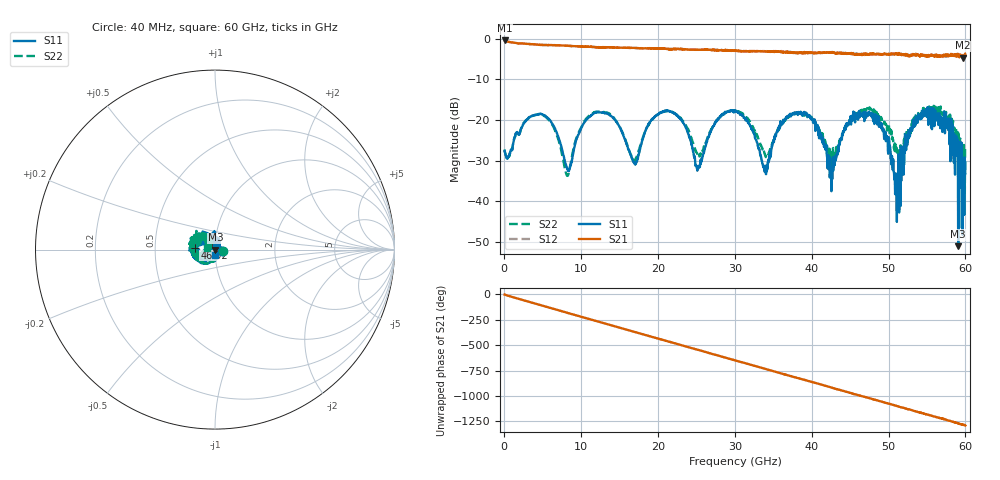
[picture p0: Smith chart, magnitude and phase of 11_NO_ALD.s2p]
! File created by 'SoftPlot +Plus+ Measurement Management Software'
! SoftPlot +Plus+ Measurement Management Software
! Start 40.000000 MHz  Stop 60.000000 GHz  Points 1601
# MHZ S RI R 50
! S-Parameter data, F S11 S21 S12 S22
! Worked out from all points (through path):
!   1601 points, 40 MHz to 60 GHz, reference 50 ohm
!   highest |S21| = -0.41 dB at 40 MHz (marker M1); lowest = -4.7 dB at 59.63 GHz (marker M2)
!   group delay of S21, straight-line fit = 59.4 ps
!   lowest |S11| = -51.1 dB at 59.06 GHz (marker M3), VSWR 1.01, Z = 50.3 - j0.0542 ohm
!   |S11| at or under -10 dB: start of sweep to end of sweep
!   |S22| runs from -38.0 to -16.5 dB; largest |S21 - S12| = 0.049
!   S11 on the Smith chart (normalised r, x): 40 MHz: 1.08, -0.02; 46.92 GHz: 0.80, +0.02; 60 GHz: 1.00, -0.06
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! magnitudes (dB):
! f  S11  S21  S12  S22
! 40 MHz  -27.7  -0.4  -0.4  -27.2
! 4.799 GHz  -18.5  -1.5  -1.5  -18.8
! 8.21 GHz  -32.2  -1.7  -1.7  -33.7
! 10.05 GHz  -21.9  -1.9  -1.9  -21.6
! 13.76 GHz  -18.9  -2.1  -2.1  -18.6
! 17.02 GHz  -30.9  -2.3  -2.3  -29.8
! 20.05 GHz  -18.5  -2.4  -2.4  -18.5
! 23.05 GHz  -20.0  -2.5  -2.5  -19.7
! 25.19 GHz  -31.8  -2.7  -2.7  -28.5
! 30.02 GHz  -17.7  -2.9  -2.8  -17.7
! 33.95 GHz  -31.2  -3.1  -3.1  -28.6
! 36.62 GHz  -19.5  -3.2  -3.0  -19.7
! 40.03 GHz  -19.9  -3.4  -3.5  -19.5
! 42.5 GHz  -32.1  -3.3  -3.3  -28.9
! 46.92 GHz  -18.8  -3.8  -3.8  -17.3
! 50.03 GHz  -24.2  -3.7  -3.8  -21.0
! 51.27 GHz  -31.6  -3.6  -3.7  -27.6
! 52.88 GHz  -22.7  -4.1  -4.0  -23.1
! 55.58 GHz  -17.4  -3.9  -4.2  -18.1
! 59.06 GHz  -51.1  -4.4  -3.8  -23.1
! 59.63 GHz  -48.3  -4.7  -4.1  -26.6
! 60 GHz  -30.5  -4.1  -4.3  -27.2
